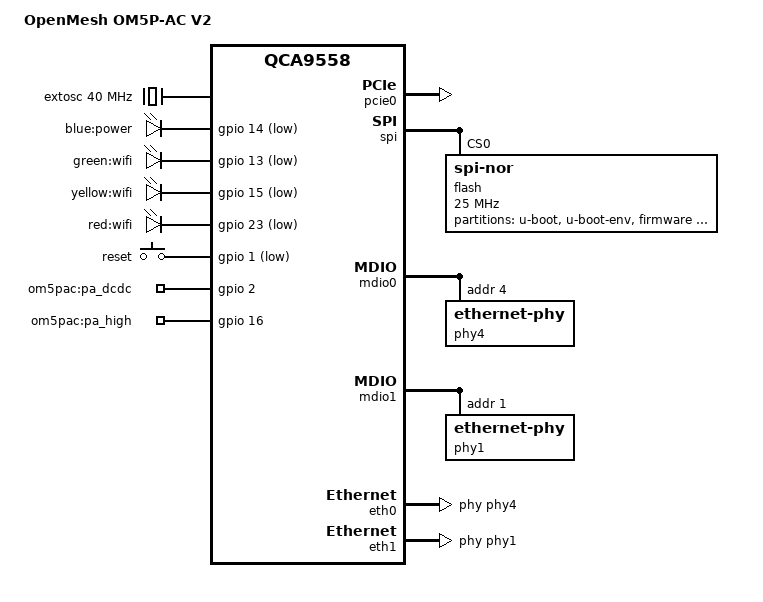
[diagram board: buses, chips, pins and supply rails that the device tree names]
// SPDX-License-Identifier: GPL-2.0-or-later OR MIT

#include "qca955x.dtsi"

#include <dt-bindings/gpio/gpio.h>
#include <dt-bindings/input/input.h>

/ {
	compatible = "openmesh,om5p-ac-v2", "qca,qca9558";
	model = "OpenMesh OM5P-AC V2";

	extosc: ref {
		compatible = "fixed-clock";
		#clock-cells = <0>;
		clock-output-names = "ref";
		clock-frequency = <40000000>;
	};

	leds {
		compatible = "gpio-leds";

		power {
			label = "blue:power";
			gpios = <&gpio 14 GPIO_ACTIVE_LOW>;
		};

		wifi_green {
			label = "green:wifi";
			gpios = <&gpio 13 GPIO_ACTIVE_LOW>;
		};

		wifi_yellow {
			label = "yellow:wifi";
			gpios = <&gpio 15 GPIO_ACTIVE_LOW>;
		};

		wifi_red {
			label = "red:wifi";
			gpios = <&gpio 23 GPIO_ACTIVE_LOW>;
		};
	};

	keys {
		compatible = "gpio-keys";

		reset {
			label = "reset";
			linux,code = <KEY_RESTART>;
			gpios = <&gpio 1 GPIO_ACTIVE_LOW>;
		};
	};

	gpio-export {
		compatible = "gpio-export";
		#size-cells = <0>;

		gpio_pa_dcdc {
			gpio-export,name = "om5pac:pa_dcdc";
			gpio-export,output = <1>;
			gpios = <&gpio 2 GPIO_ACTIVE_HIGH>;
		};
		gpio_pa_high {
			gpio-export,name = "om5pac:pa_high";
			gpio-export,output = <1>;
			gpios = <&gpio 16 GPIO_ACTIVE_HIGH>;
		};
	};
};

&pinmux {
	pinmux_pa_dcdc_pins {
		pinctrl-single,bits = <0x0 0xff00 0x0>;
	};

	pinmux_pa_high_pins {
		pinctrl-single,bits = <0x10 0xff 0x0>;
	};
};

&pcie0 {
	status = "okay";
};

&pll {
	clocks = <&extosc>;
};

&spi {
	status = "okay";

	flash@0 {
		compatible = "jedec,spi-nor";
		reg = <0>;
		spi-max-frequency = <25000000>;

		partitions {
			compatible = "fixed-partitions";
			#address-cells = <1>;
			#size-cells = <1>;

			partition@0 {
				label = "u-boot";
				reg = <0x000000 0x040000>;
				read-only;
			};

			partition@1 {
				label = "u-boot-env";
				reg = <0x040000 0x010000>;
			};

			partition@2 {
				compatible = "denx,uimage";
				label = "firmware";
				reg = <0x850000 0x7a0000>;
			};

			partition@3 {
				label = "art";
				reg = <0xff0000 0x010000>;
				read-only;
			};
		};
	};
};

&mdio0 {
	status = "okay";

	phy4: ethernet-phy@4 {
		reg = <4>;
		phy-mode = "rgmii-id";
	};
};

&mdio1 {
	status = "okay";

	phy1: ethernet-phy@1 {
		reg = <1>;
		phy-mode = "sgmii";
	};
};

&eth0 {
	status = "okay";

	pll-data = <0x82000101 0x80000101 0x80001313>;

	phy-handle = <&phy4>;
};

&eth1 {
	status = "okay";

	pll-data = <0x03000101 0x80000101 0x80001313>;

	phy-handle = <&phy1>;
};
